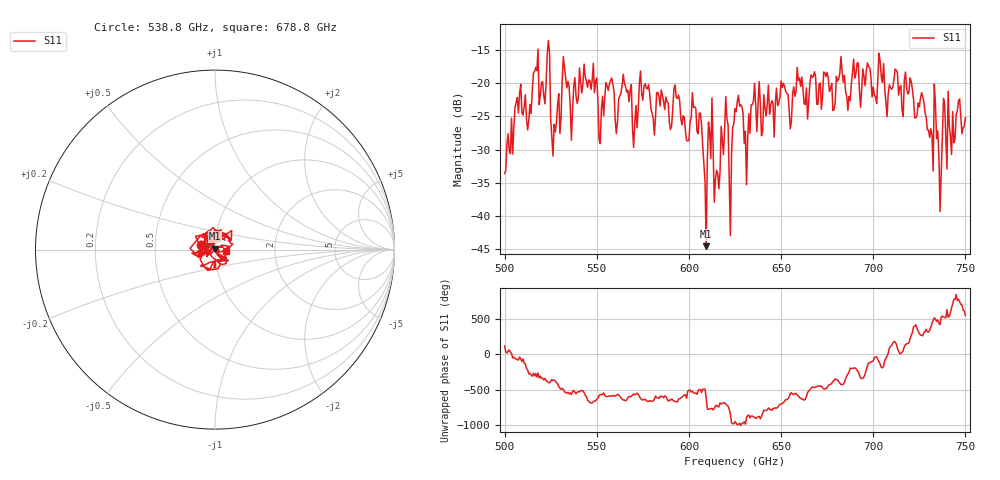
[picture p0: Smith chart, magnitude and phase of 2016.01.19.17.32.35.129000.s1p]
!Created with skrf (http://scikit-rf.org).
# GHz S RI R 50.0
!freq ReS11 ImS11
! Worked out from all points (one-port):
!   401 points, 500 GHz to 750 GHz, reference 50 ohm
!   lowest |S11| = -44.5 dB at 609.4 GHz (marker M1), VSWR 1.01, Z = 49.9 + j0.584 ohm
!   |S11| at or under -10 dB: start of sweep to end of sweep
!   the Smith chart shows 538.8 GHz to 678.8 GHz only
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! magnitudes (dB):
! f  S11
! 500 GHz  -33.6
! 507.5 GHz  -24.5
! 513.1 GHz  -25.6
! 516.9 GHz  -17.6
! 523.8 GHz  -13.6
! 526.2 GHz  -31.0
! 531.2 GHz  -19.5
! 562.5 GHz  -21.9
! 570.6 GHz  -26.0
! 574.4 GHz  -21.6
! 593.8 GHz  -22.3
! 598.8 GHz  -28.7
! 603.1 GHz  -23.6
! 609.4 GHz  -44.5
! 611.9 GHz  -31.4
! 615 GHz  -33.1
! 620 GHz  -22.0
! 623.1 GHz  -30.7
! 625 GHz  -23.9
! 631.2 GHz  -35.3
! 635 GHz  -22.7
! 656.2 GHz  -21.6
! 687.5 GHz  -22.6
! 718.8 GHz  -21.6
! 734.4 GHz  -28.4
! 735.6 GHz  -30.9
! 739.4 GHz  -27.9
! 750 GHz  -25.2
